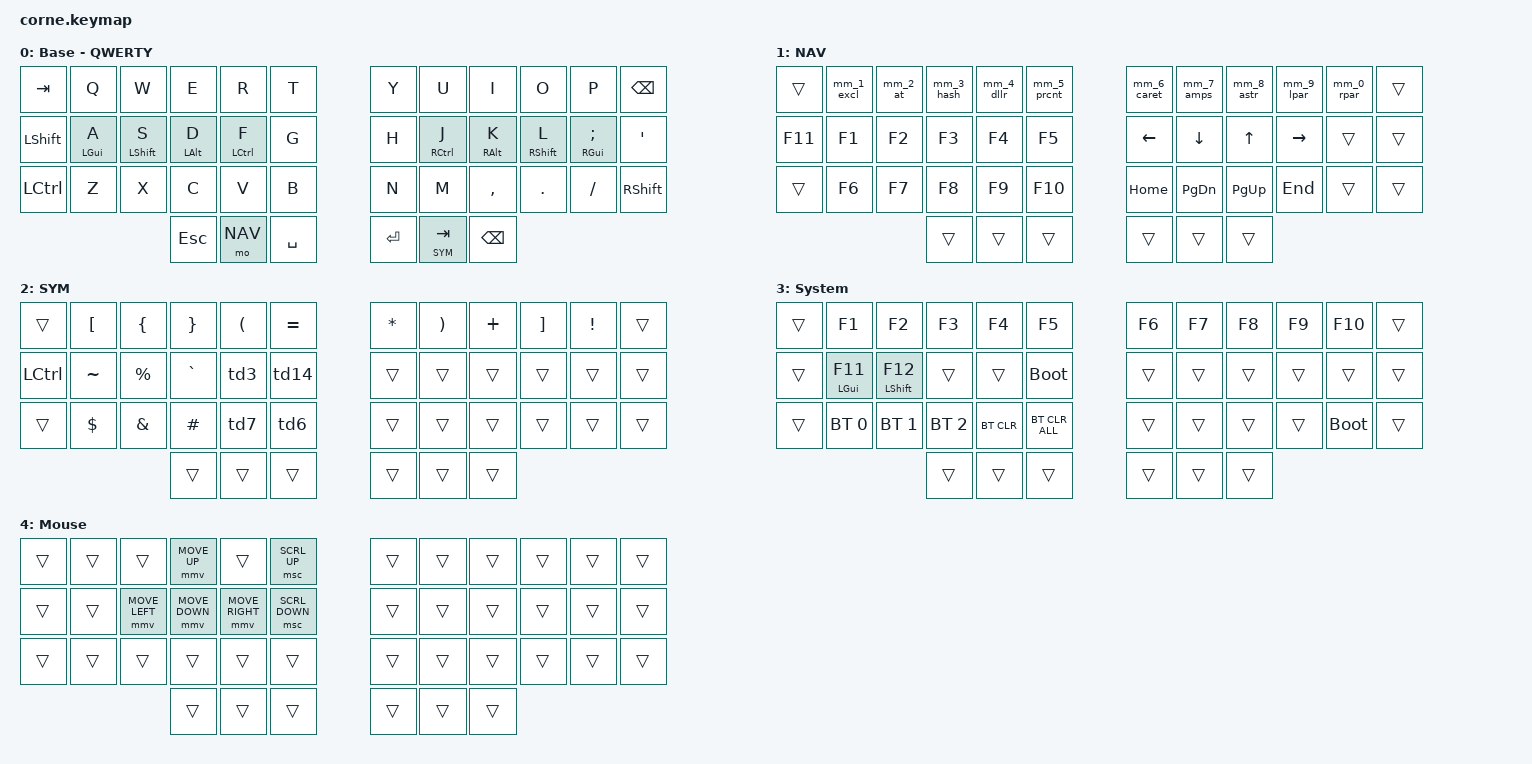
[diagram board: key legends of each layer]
/*
 * Copyright (c) 2022 The ZMK Contributors
 *
 * SPDX-License-Identifier: MIT
 */

#include <behaviors.dtsi>
#include <dt-bindings/zmk/bt.h>
#include <dt-bindings/zmk/keys.h>
#include <dt-bindings/zmk/pointing.h>

// Layer Defines
#define DEF 0
#define NAV 1
#define SYM 2
#define ADJ 3
#define EXTRA 4

// Behavior Defines
#define TAP_SPEED 200
#define TD_SLSH   &td3    // SLASH QMARK
#define TD_ATCAT  &td14   // AT CARET
#define TD_MINUS  &td7    // MINUS UNDERSCORE
#define TD_BSLS   &td6    // BACKSLASH PIPE

/ {
    behaviors {
        // -- Shared behaviors --
        hm: homerow_mods {
            compatible = "zmk,behavior-hold-tap";
            label = "HOMEROW_MODS";
            #binding-cells = <2>;
            tapping-term-ms = <200>;
            quick_tap_ms = <180>;
            flavor = "tap-preferred";
            bindings = <&kp>, <&kp>;
            global-quick-tap;
        };

        para: para {
            compatible = "zmk,behavior-tap-dance";
            label = "PARA";
            #binding-cells = <0>;
            bindings = <&kp LEFT_PARENTHESIS>, <&kp RIGHT_PARENTHESIS>;
        };

        caps: caps {
            compatible = "zmk,behavior-caps-word";
            label = "CAPS";
            #binding-cells = <0>;
            continue-list = <MINUS BACKSPACE>;
        };

        paraless: paraless {
            compatible = "zmk,behavior-mod-morph";
            label = "PARALESS";
            #binding-cells = <0>;
            bindings = <&kp LEFT_PARENTHESIS>, <&kp LESS_THAN>;
            mods = <(MOD_LSFT)>;
        };

        paragreat: paragreat {
            compatible = "zmk,behavior-mod-morph";
            label = "PARAGREAT";
            #binding-cells = <0>;
            bindings = <&kp RIGHT_PARENTHESIS>, <&kp GREATER_THAN>;
            mods = <(MOD_LSFT)>;
        };

        // -- Behaviors for NAV & SYM layers --
        td3: tap_dance_3 {
            compatible = "zmk,behavior-tap-dance";
            label = "TAP_DANCE_3";
            #binding-cells = <0>;
            tapping-term-ms = <TAP_SPEED>;
            bindings = <&kp SLASH>, <&kp QMARK>;
        };
        td6: tap_dance_6 {
            compatible = "zmk,behavior-tap-dance";
            label = "TAP_DANCE_6";
            #binding-cells = <0>;
            tapping-term-ms = <TAP_SPEED>;
            bindings = <&kp BACKSLASH>, <&kp PIPE>;
        };
        td7: tap_dance_7 {
            compatible = "zmk,behavior-tap-dance";
            label = "TAP_DANCE_7";
            #binding-cells = <0>;
            tapping-term-ms = <TAP_SPEED>;
            bindings = <&kp MINUS>, <&kp UNDERSCORE>;
        };
        td14: tap_dance_14 {
            compatible = "zmk,behavior-tap-dance";
            label = "TAP_DANCE_14";
            #binding-cells = <0>;
            tapping-term-ms = <TAP_SPEED>;
            bindings = <&kp AT>, <&kp CARET>;
        };

        mm_1_excl: mod_morph_1_excl {
            compatible = "zmk,behavior-mod-morph";
            label = "MM_1_EXCL";
            #binding-cells = <0>;
            bindings = <&kp N1>, <&kp EXCL>;
            mods = <(MOD_LSFT | MOD_RSFT)>;
        };
        mm_2_at: mod_morph_2_at {
            compatible = "zmk,behavior-mod-morph";
            label = "MM_2_AT";
            #binding-cells = <0>;
            bindings = <&kp N2>, <&kp AT>;
            mods = <(MOD_LSFT | MOD_RSFT)>;
        };
        mm_3_hash: mod_morph_3_hash {
            compatible = "zmk,behavior-mod-morph";
            label = "MM_3_HASH";
            #binding-cells = <0>;
            bindings = <&kp N3>, <&kp HASH>;
            mods = <(MOD_LSFT | MOD_RSFT)>;
        };
        mm_4_dllr: mod_morph_4_dllr {
            compatible = "zmk,behavior-mod-morph";
            label = "MM_4_DLLR";
            #binding-cells = <0>;
            bindings = <&kp N4>, <&kp DLLR>;
            mods = <(MOD_LSFT | MOD_RSFT)>;
        };
        mm_5_prcnt: mod_morph_5_prcnt {
            compatible = "zmk,behavior-mod-morph";
            label = "MM_5_PRCNT";
            #binding-cells = <0>;
            bindings = <&kp N5>, <&kp PRCNT>;
            mods = <(MOD_LSFT | MOD_RSFT)>;
        };
        mm_6_caret: mod_morph_6_caret {
            compatible = "zmk,behavior-mod-morph";
            label = "MM_6_CARET";
            #binding-cells = <0>;
            bindings = <&kp N6>, <&kp CARET>;
            mods = <(MOD_LSFT | MOD_RSFT)>;
        };
        mm_7_amps: mod_morph_7_amps {
            compatible = "zmk,behavior-mod-morph";
            label = "MM_7_AMPS";
            #binding-cells = <0>;
            bindings = <&kp N7>, <&kp AMPS>;
            mods = <(MOD_LSFT | MOD_RSFT)>;
        };
        mm_8_astr: mod_morph_8_astr {
            compatible = "zmk,behavior-mod-morph";
            label = "MM_8_ASTR";
            #binding-cells = <0>;
            bindings = <&kp N8>, <&kp ASTRK>;
            mods = <(MOD_LSFT | MOD_RSFT)>;
        };
        mm_9_lpar: mod_morph_9_lpar {
            compatible = "zmk,behavior-mod-morph";
            label = "MM_9_LPAR";
            #binding-cells = <0>;
            bindings = <&kp N9>, <&kp LPAR>;
            mods = <(MOD_LSFT | MOD_RSFT)>;
        };
        mm_0_rpar: mod_morph_0_rpar {
            compatible = "zmk,behavior-mod-morph";
            label = "MM_0_RPAR";
            #binding-cells = <0>;
            bindings = <&kp N0>, <&kp RPAR>;
            mods = <(MOD_LSFT | MOD_RSFT)>;
        };
    };

    combos {
        compatible = "zmk,combos";
        escape { bindings = <&kp ESCAPE>; key-positions = <13 29>; };
        delete { bindings = <&kp DELETE>; key-positions = <15 21>; };
        perc { bindings = <&kp PERCENT>; key-positions = <5 17>; };
        equal { bindings = <&kp EQUAL>; key-positions = <28 16>; };
        dollar { bindings = <&kp DOLLAR>; key-positions = <4 16>; };
        pound { bindings = <&kp POUND>; key-positions = <3 15>; };
        at { bindings = <&kp AT>; key-positions = <2 14>; };
        backslash { bindings = <&kp BACKSLASH>; key-positions = <26 14>; };
        copy { bindings = <&kp K_COPY>; key-positions = <28 27>; };
        paste { bindings = <&kp K_PASTE>; key-positions = <26 27>; };
        star { bindings = <&kp STAR>; key-positions = <8 20>; };
        slash { bindings = <&kp SLASH>; key-positions = <32 20>; };
        plus { bindings = <&kp PLUS>; key-positions = <7 19>; };
        minus { bindings = <&kp KP_MINUS>; key-positions = <31 19>; };
        underscore { bindings = <&kp UNDER>; key-positions = <30 18>; };
        leftbrack { bindings = <&kp LEFT_BRACKET>; key-positions = <31 32>; };
        rightbrack { bindings = <&kp RIGHT_BRACKET>; key-positions = <33 32>; };
        para-less { bindings = <&paraless>; key-positions = <20 19>; };
        para-great { bindings = <&paragreat>; key-positions = <20 21>; };
        uh_escape { bindings = <&kp ESCAPE>; key-positions = <4 17>; };
    };

    keymap {
        compatible = "zmk,keymap";

        DEF {
            display-name = "Base - QWERTY";
            // -----------------------------------------------------------------------------------------
            // | TAB |  Q  |  W  |  E  |  R  |  T  |    |  Y  |  U  |  I  |  O  |  P  | BKSP |
            // | SFT |  A  |  S  |  D  |  F  |  G  |    |  H  |  J  |  K  |  L  |  ;  |  '   |
            // | CTL |  Z  |  X  |  C  |  V  |  B  |    |  N  |  M  |  ,  |  .  |  /  | SFT  |
            // |     |     |     | NAV | SPC |    | RET | SYM | BSP |     |     |      |
            bindings = <
&kp TAB    &kp Q          &kp W          &kp E          &kp R          &kp T        &kp Y        &kp U        &kp I        &kp O        &kp P        &kp BACKSPACE
&kp LSHFT  &hm LGUI A     &hm LSHFT S    &hm LALT D     &hm LCTRL F    &kp G        &kp H        &hm RCTRL J  &hm RALT K   &hm RSHFT L  &hm RGUI SEMI &kp SQT
&kp LCTRL  &kp Z          &kp X          &kp C          &kp V          &kp B        &kp N        &kp M        &kp COMMA    &kp DOT      &kp FSLH     &kp RSHFT
                                         &kp ESCAPE     &mo NAV        &kp SPACE    &kp RET      &lt SYM TAB    &kp BSPC
            >;
        };

        NAV {
            label = "NAV";
            // -----------------------------------------------------------------------------------------
            // |      |  1  |  2  |  3  |  4  |  5  |      |  6  |  7  |  8  |  9  |  0  |      |
            // | F11  | F1  | F2  | F3  | F4  | F5  |      | LFT | DWN | UP  | RGT |     |      |
            // |      | F6  | F7  | F8  | F9  | F10 |      |HOME | PGDN| PGUP| END |     |      |
            // -----------------------------------------------------------------------------------------
            bindings = <
&trans      &mm_1_excl  &mm_2_at   &mm_3_hash &mm_4_dllr  &mm_5_prcnt         &mm_6_caret &mm_7_amps   &mm_8_astr  &mm_9_lpar  &mm_0_rpar &trans
&kp F11     &kp F1      &kp F2     &kp F3     &kp F4      &kp F5              &kp LEFT    &kp DOWN     &kp UP      &kp RIGHT   &trans     &trans
&trans      &kp F6      &kp F7     &kp F8     &kp F9      &kp F10             &kp HOME    &kp PG_DN    &kp PG_UP   &kp END     &trans     &trans
                                             &trans      &trans  &trans      &trans      &trans       &trans
            >;
        };

        SYM {
            label = "SYM";
            // -----------------------------------------------------------------------------------------
            // |      |  [  |  {  |  }  |  (  |  =  |      |  * |  )  |  +  |  ]  |  !  |      |
            // | CTRL |  ~  |  %  |  `  | / ? | @ ^ |      |     |     |     |     |     |      |
            // |      |  $  |  &  |  #  | - _ | \ | |      |     |     |     |     |     |      |
            // -----------------------------------------------------------------------------------------
            bindings = <
&trans      &kp LBKT    &kp LBRC   &kp RBRC   &kp LPAR    &kp EQUAL           &kp STAR    &kp RPAR     &kp PLUS    &kp RBKT    &kp EXCL   &trans
&kp LCTRL   &kp TILDE   &kp PRCNT  &kp GRAVE  TD_SLSH     TD_ATCAT            &trans      &trans       &trans      &trans      &trans     &trans
&trans      &kp DLLR    &kp AMPS   &kp HASH   TD_MINUS    TD_BSLS             &trans      &trans       &trans      &trans      &trans     &trans
                                             &trans      &trans  &trans      &trans      &trans       &trans
            >;
        };

        ADJ {
            display-name = "System";
            bindings = <
&trans  &kp F1        &kp F2         &kp F3        &kp F4      &kp F5          &kp F6  &kp F7  &kp F8  &kp F9  &kp F10      &trans
&trans  &hm LGUI F11  &hm LSHFT F12  &trans        &trans      &bootloader     &trans  &trans  &trans  &trans  &trans       &trans
&trans  &bt BT_SEL 0  &bt BT_SEL 1   &bt BT_SEL 2  &bt BT_CLR  &bt BT_CLR_ALL  &trans  &trans  &trans  &trans  &bootloader  &trans
                                     &trans        &trans      &trans          &trans  &trans  &trans
            >;
        };

        EXTRA {
            display-name = "Mouse";
            bindings = <
&trans  &trans  &trans           &mmv MOVE_UP     &trans            &msc SCRL_UP    &trans  &trans  &trans  &trans  &trans  &trans
&trans  &trans  &mmv MOVE_LEFT  &mmv MOVE_DOWN    &mmv MOVE_RIGHT    &msc SCRL_DOWN  &trans  &trans  &trans  &trans  &trans  &trans
&trans  &trans  &trans           &trans           &trans            &trans          &trans  &trans  &trans  &trans  &trans  &trans
                                 &trans           &trans            &trans          &trans  &trans  &trans
            >;
        };
    };

    conditional_layers {
        compatible = "zmk,conditional-layers";
        l3 {
            if-layers = <NAV SYM>; // Activates ADJ when NAV and SYM are active
            then-layer = <ADJ>;
        };
    };
};
